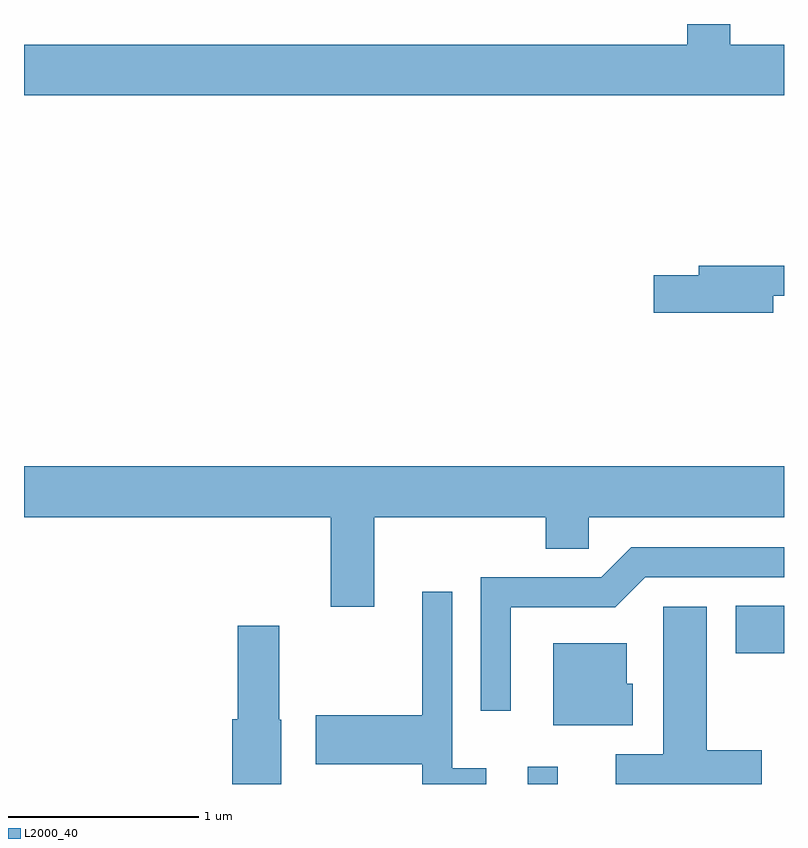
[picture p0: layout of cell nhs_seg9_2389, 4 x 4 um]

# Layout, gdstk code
import gdstk
lib = gdstk.Library(unit=1e-6, precision=1e-09)
def R(c, l, rs):  # rectangles x0, y0, x1, y1
    for r in rs: c.add(gdstk.rectangle(r[:2], r[2:], *l))
def P(c, l, *ps):  # polygons
    for p in ps: c.add(gdstk.Polygon(p, *l))
L2000_40 = (2000, 40)

nhs_seg9_2389 = lib.new_cell('nhs_seg9_2389')
R(nhs_seg9_2389, L2000_40, [(258.261,1970.432,258.419,1970.523), (259.356,1971.121,259.611,1971.369)])
P(nhs_seg9_2389, L2000_40, [(259.611,1974.324),(259.329,1974.324),(259.329,1974.432),(259.101,1974.432),(259.101,1974.324),(255.611,1974.324),(255.611,1974.056),(259.611,1974.056)],
  [(259.554,1973.001),(259.611,1973.001),(259.611,1973.159),(259.161,1973.159),(259.161,1973.109),(258.926,1973.109),(258.926,1972.911),(259.554,1972.911)],
  [(257.454,1971.836),(258.356,1971.836),(258.356,1971.671),(258.584,1971.671),(258.584,1971.836),(259.611,1971.836),(259.611,1972.104),(255.611,1972.104),(255.611,1971.836),(257.226,1971.836),(257.226,1971.366),(257.454,1971.366)],
  [(258.174,1971.361),(258.722,1971.361),(258.882,1971.521),(259.611,1971.521),(259.611,1971.679),(258.808,1971.679),(258.649,1971.519),(258.016,1971.519),(258.016,1970.818),(258.174,1970.818)],
  [(258.044,1970.514),(257.864,1970.514),(257.864,1971.443),(257.706,1971.443),(257.706,1970.794),(257.146,1970.794),(257.146,1970.536),(257.706,1970.536),(257.706,1970.432),(258.044,1970.432)],
  [(259.494,1970.609),(259.204,1970.609),(259.204,1971.364),(258.976,1971.364),(258.976,1970.589),(258.726,1970.589),(258.726,1970.432),(259.494,1970.432)],
  [(256.964,1970.77),(256.954,1970.77),(256.954,1971.264),(256.736,1971.264),(256.736,1970.774),(256.706,1970.774),(256.706,1970.432),(256.964,1970.432)],
  [(258.814,1970.959),(258.784,1970.959),(258.784,1971.174),(258.396,1971.174),(258.396,1970.741),(258.814,1970.741)])

lib.write_gds('nhs_seg9_2389.gds')
